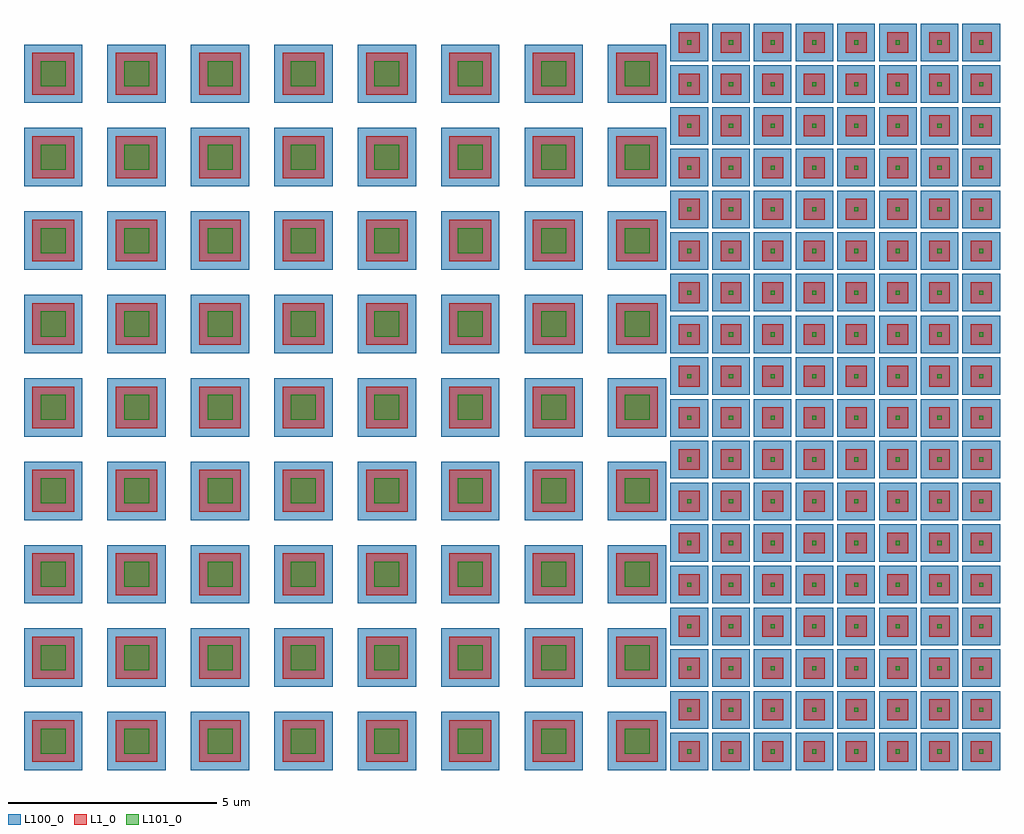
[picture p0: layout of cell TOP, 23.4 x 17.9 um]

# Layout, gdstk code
from math import pi, radians
import gdstk
lib = gdstk.Library(unit=1e-6, precision=1e-09)
def R(c, l, rs):  # rectangles x0, y0, x1, y1
    for r in rs: c.add(gdstk.rectangle(r[:2], r[2:], *l))
def A(c, l, x, y, w, h, nx, ny, dx, dy):  # array of equal rectangles
    R(c, l, [(x+i*dx, y+j*dy, x+i*dx+w, y+j*dy+h) for i in range(nx) for j in range(ny)])
L1_0 = (1, 0)
L100_0 = (100, 0)
L101_0 = (101, 0)

c_c1 = lib.new_cell('C1')
R(c_c1, L1_0, [(0,0,1,1), (0,2,1,3)])
c_c1.add(gdstk.Label('C1', (0.4,1.4), layer=1, texttype=0))

c_c2 = lib.new_cell('C2')
R(c_c2, L1_0, [(0,0,2,2), (0,4,2,6)])
c_c2.add(gdstk.Label('C2', (0.8,2.8), layer=1, texttype=0))

c_c4 = lib.new_cell('C4')
R(c_c4, L1_0, [(0,0,4,4), (0,8,4,12)])
c_c4.add(gdstk.Label('C4', (2,6), layer=1, texttype=0))

cc1 = lib.new_cell('CC1')
R(cc1, L1_0, [(4,4,5,5), (4,6,5,7)])
cc1.add(gdstk.Reference(c_c1, (0,0)))
cc1.add(gdstk.Reference(c_c1, (0,4)))
cc1.add(gdstk.Reference(c_c1, (6,4)))
cc1.add(gdstk.Reference(c_c1, (6,0)))
cc1.add(gdstk.Reference(c_c2, (2,0), magnification=0.5))
cc1.add(gdstk.Reference(c_c4, (4,0), magnification=0.25))
cc1.add(gdstk.Reference(c_c4, (2,4), magnification=0.25))
cc1.add(gdstk.Label('CC1', (3.4,3.4), layer=1, texttype=0))

cc2 = lib.new_cell('CC2')
A(cc2, L1_0, 0, 16, 1, 1, 8, 1, 2, 0)
cc2.add(gdstk.Reference(cc1, (0,0)))
cc2.add(gdstk.Reference(cc1, (0,8)))
cc2.add(gdstk.Reference(cc1, (15,0), rotation=pi, x_reflection=True))
cc2.add(gdstk.Reference(cc1, (15,15), rotation=3*pi/2, x_reflection=True))

c1_1 = lib.new_cell('C1$1')
R(c1_1, L100_0, [(-0.4,-0.4,1.4,1.4), (-0.4,1.6,1.4,3.4)])
R(c1_1, L101_0, [(0.4,0.4,0.6,0.6), (0.4,2.4,0.6,2.6)])

c2_1 = lib.new_cell('C2$1')
R(c2_1, L100_0, [(-0.8,-0.8,2.8,2.8), (-0.8,3.2,2.8,6.8)])
R(c2_1, L101_0, [(0.8,0.8,1.2,1.2), (0.8,4.8,1.2,5.2)])

c4_1 = lib.new_cell('C4$1')
R(c4_1, L100_0, [(-1.6,-1.6,5.6,5.6), (-1.6,6.4,5.6,13.6)])
R(c4_1, L101_0, [(1.6,1.6,2.4,2.4), (1.6,9.6,2.4,10.4)])

cc1_1 = lib.new_cell('CC1$1')
R(cc1_1, L100_0, [(3.6,3.6,5.4,5.4), (3.6,5.6,5.4,7.4)])
R(cc1_1, L101_0, [(4.4,4.4,4.6,4.6), (4.4,6.4,4.6,6.6)])
cc1_1.add(gdstk.Reference(c1_1, (0,0)))
cc1_1.add(gdstk.Reference(c1_1, (0,4)))
cc1_1.add(gdstk.Reference(c1_1, (6,4)))
cc1_1.add(gdstk.Reference(c1_1, (6,0)))
cc1_1.add(gdstk.Reference(c2_1, (2,0), magnification=0.5))
cc1_1.add(gdstk.Reference(c4_1, (4,0), magnification=0.25))
cc1_1.add(gdstk.Reference(c4_1, (2,4), magnification=0.25))

cc2_1 = lib.new_cell('CC2$1')
A(cc2_1, L100_0, -0.4, 15.6, 1.8, 1.8, 8, 1, 2, 0)
A(cc2_1, L101_0, 0.4, 16.4, 0.2, 0.2, 8, 1, 2, 0)
cc2_1.add(gdstk.Reference(cc1_1, (0,0)))
cc2_1.add(gdstk.Reference(cc1_1, (0,8)))
cc2_1.add(gdstk.Reference(cc1_1, (15,0), rotation=pi, x_reflection=True))
cc2_1.add(gdstk.Reference(cc1_1, (15,15), rotation=3*pi/2, x_reflection=True))

c4_var1 = lib.new_cell('C4$VAR1')
R(c4_var1, L100_0, [(-0.8,-0.8,4.8,4.8), (-0.8,7.2,4.8,12.8)])
R(c4_var1, L101_0, [(0.8,0.8,3.2,3.2), (0.8,8.8,3.2,11.2)])

c2_var1 = lib.new_cell('C2$VAR1')
R(c2_var1, L100_0, [(-0.4,-0.4,2.4,2.4), (-0.4,3.6,2.4,6.4)])
R(c2_var1, L101_0, [(0.4,0.4,1.6,1.6), (0.4,4.4,1.6,5.6)])

c1_var1 = lib.new_cell('C1$VAR1')
R(c1_var1, L100_0, [(-0.2,-0.2,1.2,1.2), (-0.2,1.8,1.2,3.2)])
R(c1_var1, L101_0, [(0.2,0.2,0.8,0.8), (0.2,2.2,0.8,2.8)])

cc1_var1 = lib.new_cell('CC1$VAR1')
R(cc1_var1, L100_0, [(3.8,3.8,5.2,5.2), (3.8,5.8,5.2,7.2)])
R(cc1_var1, L101_0, [(4.2,4.2,4.8,4.8), (4.2,6.2,4.8,6.8)])
cc1_var1.add(gdstk.Reference(c4_var1, (4,0), magnification=0.25))
cc1_var1.add(gdstk.Reference(c4_var1, (2,4), magnification=0.25))
cc1_var1.add(gdstk.Reference(c2_var1, (2,0), magnification=0.5))
cc1_var1.add(gdstk.Reference(c1_var1, (0,0)))
cc1_var1.add(gdstk.Reference(c1_var1, (0,4)))
cc1_var1.add(gdstk.Reference(c1_var1, (6,4)))
cc1_var1.add(gdstk.Reference(c1_var1, (6,0)))

cc2_var1 = lib.new_cell('CC2$VAR1')
A(cc2_var1, L100_0, -0.2, 15.8, 1.4, 1.4, 8, 1, 2, 0)
A(cc2_var1, L101_0, 0.2, 16.2, 0.6, 0.6, 8, 1, 2, 0)
cc2_var1.add(gdstk.Reference(cc1_var1, (0,0)))
cc2_var1.add(gdstk.Reference(cc1_var1, (0,8)))
cc2_var1.add(gdstk.Reference(cc1_var1, (15,0), rotation=pi, x_reflection=True))
cc2_var1.add(gdstk.Reference(cc1_var1, (15,15), rotation=3*pi/2, x_reflection=True))

top = lib.new_cell('TOP')
top.add(gdstk.Reference(cc2, (0,0)))
top.add(gdstk.Reference(cc2, (15.5,0), magnification=0.5))
top.add(gdstk.Reference(cc2, (15.5,9), magnification=0.5))
top.add(gdstk.Reference(cc2_1, (15.5,0), magnification=0.5))
top.add(gdstk.Reference(cc2_1, (15.5,9), magnification=0.5))
top.add(gdstk.Reference(cc2_var1, (0,0)))

lib.write_gds('TOP.gds')
